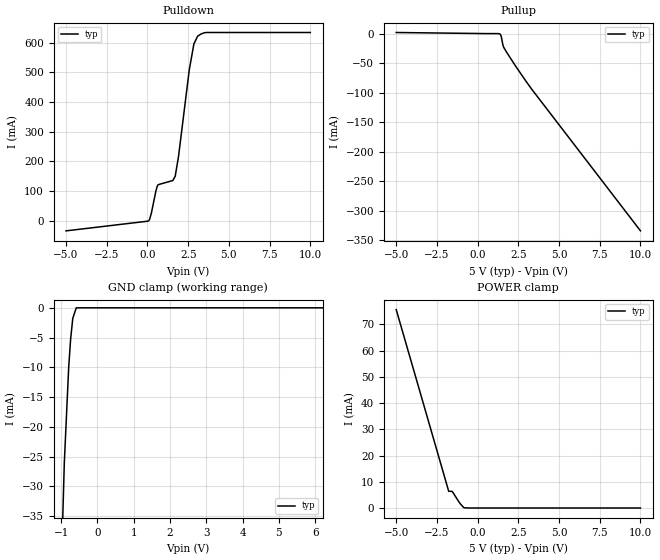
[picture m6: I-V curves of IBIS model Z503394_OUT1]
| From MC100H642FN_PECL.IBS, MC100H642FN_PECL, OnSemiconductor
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| (C) COPYRIGHT 1993-2000
| MENTOR GRAPHICS CORPORATION
| ICX STANDARD LIBRARY, ICX PROJECT MODELING,
| ICX CUSTOM MODELING, ICX VENDOR MODEL
| ALL RIGHTS RESERVED.
| THE FOLLOWING ARE TRADEMARKS OR SERVICE MARKS OF
| MENTOR GRAPHICS CORPORATION:ICX (R), ICX STANDARD
| LIBRARY(R), ICX PROJECT MODELING(R), ICX CUSTOM
| MODELING(R), qualityIBIS(TM), MODELVIEWER(TM),
| AND MODELEDITOR(TM)
| ALL COPIES OF SOFTWARE, INCLUDING BUT NOT LIMITED TO
| ANY MODIFICATIONS, ENHANCEMENTS OR DERIVATIVE WORKS,
| MUST CONTAIN ALL MENTOR GRAPHICS CORPORATION'S
| NOTICES AND LEGENDS, INCLUDING THOSE EMBEDDED IN
| SOFTWARE AND THOSE AFFIXED TO SOFTWARE MEDIUM
| AND CONTAINER, AS RECEIVED FROM MENTOR GRAPHICS
| CORPORATION.
| Model Application Version 1.89 2/18/99.
[Model] Z503394_OUT1
Model_type Output
Vref=2.500uV
Rref=500.0ohms
Cref=100.0pF
Vmeas=1.500V
C_comp 8.000pF NA NA
| variable typ   min   max
[Voltage Range] 5.000V NA NA
[POWER Clamp Reference] 5.000V NA NA
[Pullup Reference] 5.000V NA NA
[Pulldown Reference] 0.000V NA NA
[GND Clamp Reference] 0.000V NA NA
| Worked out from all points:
|   slope of the pulldown table from 0 to 0.75 V, typ, clamps not added: 6.02 ohm
|   slope of the pullup table from 0 to 0.75 V, typ, clamps not added: 4.22 kohm
|   GND clamp passes 1 mA (typ) near -0.64 V on its own axis
|   POWER clamp passes 1 mA (typ) near -0.98 V on its own axis
[GND Clamp]
-5V       -1.743A    NA         NA
-1.201V   -104.2mA   NA         NA
-1.073V   -61.28mA   NA         NA
-911.6mV  -26.1mA    NA         NA
-789.8mV  -9.916mA   NA         NA
-737.2mV  -5.268mA   NA         NA
-677.9mV  -1.762mA   NA         NA
-581.1mV  0A         NA         NA
10V       0A         NA         NA
[Pulldown]
-5V       -34.09mA   NA         NA
127.1mV   3.65mA     NA         NA
518.2mV   100.2mA    NA         NA
655.1mV   121.4mA    NA         NA
1.558V    135.4mA    NA         NA
1.704V    149.9mA    NA         NA
1.908V    216.4mA    NA         NA
2.568V    508.3mA    NA         NA
2.853V    595.9mA    NA         NA
3.084V    621.8mA    NA         NA
3.631V    634mA      NA         NA
10V       634mA      NA         NA
[Pullup]
-5V       1.798mA    NA         NA
1.382V    -1.028mA   NA         NA
1.455V    -5.732mA   NA         NA
1.561V    -20.49mA   NA         NA
1.616V    -23.96mA   NA         NA
2.299V    -53.69mA   NA         NA
2.91V     -78.36mA   NA         NA
10V       -333.7mA   NA         NA
[POWER Clamp]
-5V       75.61mA    NA         NA
-1.776V   6.36mA     NA         NA
-1.578V   6.36mA     NA         NA
-1.539V   6.125mA    NA         NA
-1.144V   2.276mA    NA         NA
-1.03V    1.35mA     NA         NA
-850mV    144.9uA    NA         NA
-767mV    41.87uA    NA         NA
-511.3mV  0A         NA         NA
10V       0A         NA         NA
[Ramp]
| variable typ min max
dV/dt_r 2.077/2.630n NA NA
dV/dt_f 2.077/1.170n NA NA
R_load = 500.0Ohms
